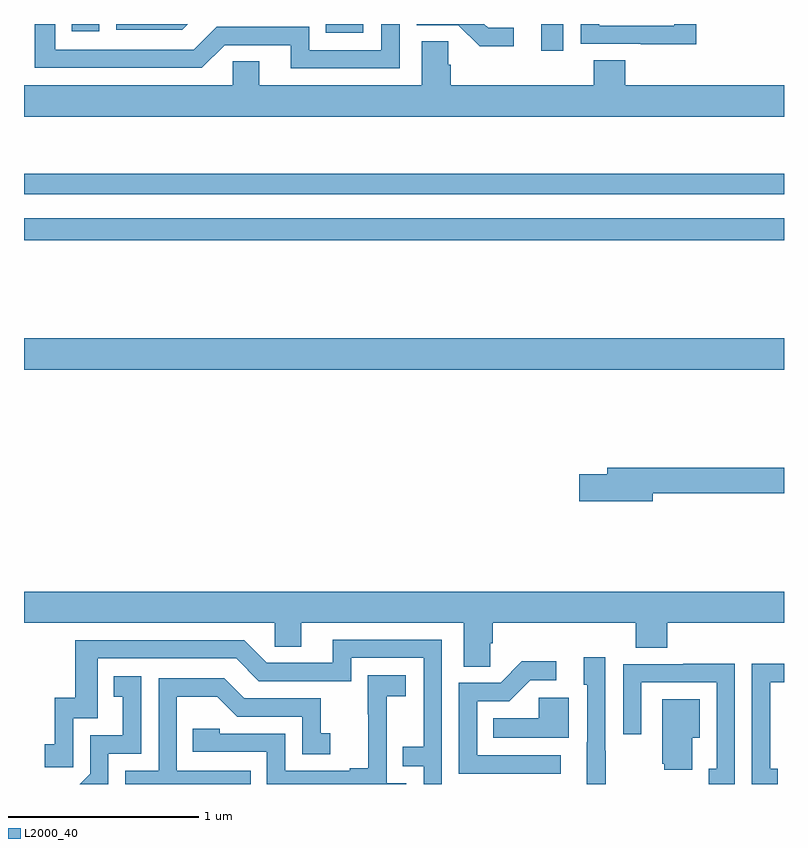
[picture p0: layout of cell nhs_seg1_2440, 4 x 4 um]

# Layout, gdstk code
import gdstk
lib = gdstk.Library(unit=1e-6, precision=1e-09)
def R(c, l, rs):  # rectangles x0, y0, x1, y1
    for r in rs: c.add(gdstk.rectangle(r[:2], r[2:], *l))
def P(c, l, *ps):  # polygons
    for p in ps: c.add(gdstk.Polygon(p, *l))
L2000_40 = (2000, 40)

nhs_seg1_2440 = lib.new_cell('nhs_seg1_2440')
R(nhs_seg1_2440, L2000_40, [(243,570.38,247,570.544), (243,571.06,247,571.176), (243,571.302,247,571.411), (245.723,572.058,245.838,572.199), (244.588,572.153,244.786,572.199), (243.25,572.16,243.396,572.199)])
P(nhs_seg1_2440, L2000_40, [(244.977,572.199),(244.881,572.199),(244.881,572.061),(244.5,572.061),(244.5,572.184),(244.014,572.184),(243.894,572.064),(243.165,572.064),(243.165,572.199),(243.057,572.199),(243.057,571.968),(243.936,571.968),(244.056,572.088),(244.403,572.088),(244.403,571.965),(244.977,571.965)],
  [(246.539,572.199),(246.423,572.199),(246.423,572.19),(246.027,572.19),(246.027,572.199),(245.931,572.199),(245.931,572.094),(246.247,572.094),(246.247,572.093),(246.539,572.093)],
  [(243.862,572.199),(243.486,572.199),(243.486,572.169),(243.832,572.169)],
  [(245.578,572.178),(245.443,572.178),(245.422,572.199),(245.067,572.199),(245.067,572.193),(245.286,572.193),(245.399,572.081),(245.578,572.081)],
  [(247,571.876),(246.164,571.876),(246.164,572.009),(245.999,572.009),(245.999,571.876),(245.246,571.876),(245.246,571.985),(245.232,571.985),(245.232,572.108),(245.093,572.108),(245.093,571.876),(244.237,571.876),(244.237,572.003),(244.098,572.003),(244.098,571.876),(243,571.876),(243,571.712),(247,571.712)],
  [(246.31,569.728),(247,569.728),(247,569.864),(246.071,569.864),(246.071,569.828),(245.922,569.828),(245.922,569.686),(246.31,569.686)],
  [(245.454,568.939),(245.468,568.939),(245.468,569.048),(246.221,569.048),(246.221,568.915),(246.386,568.915),(246.386,569.048),(247,569.048),(247,569.212),(243,569.212),(243,569.048),(244.32,569.048),(244.32,568.921),(244.459,568.921),(244.459,569.048),(245.315,569.048),(245.315,568.816),(245.454,568.816)],
  [(245.199,568.959),(244.625,568.959),(244.625,568.836),(244.278,568.836),(244.158,568.956),(243.271,568.956),(243.271,568.654),(243.161,568.654),(243.161,568.407),(243.108,568.407),(243.108,568.287),(243.258,568.287),(243.258,568.545),(243.387,568.545),(243.387,568.86),(244.116,568.86),(244.236,568.74),(244.722,568.74),(244.722,568.863),(245.103,568.863),(245.103,568.394),(244.993,568.394),(244.993,568.293),(245.103,568.293),(245.103,568.199),(245.199,568.199)],
  [(246.063,568.373),(246.06,568.373),(246.06,568.867),(245.945,568.867),(245.945,568.722),(245.964,568.722),(245.964,568.418),(245.963,568.418),(245.963,568.199),(246.063,568.199)],
  [(245.824,568.35),(245.385,568.35),(245.385,568.635),(245.554,568.635),(245.665,568.746),(245.8,568.746),(245.8,568.844),(245.621,568.844),(245.508,568.731),(245.289,568.731),(245.289,568.254),(245.824,568.254)],
  [(246.967,568.278),(246.927,568.278),(246.927,568.734),(247,568.734),(247,568.832),(246.831,568.832),(246.831,568.199),(246.967,568.199)],
  [(246.741,568.832),(246.469,568.832),(246.469,568.83),(246.153,568.83),(246.153,568.461),(246.249,568.461),(246.249,568.734),(246.645,568.734),(246.645,568.278),(246.605,568.278),(246.605,568.199),(246.741,568.199)],
  [(245.013,568.203),(244.908,568.203),(244.908,568.433),(244.91,568.433),(244.91,568.661),(245.008,568.661),(245.008,568.771),(244.81,568.771),(244.81,568.565),(244.811,568.565),(244.811,568.282),(244.715,568.282),(244.715,568.269),(244.374,568.269),(244.374,568.464),(244.029,568.464),(244.029,568.491),(243.889,568.491),(243.889,568.368),(244.278,568.368),(244.278,568.199),(245.013,568.199)],
  [(243.444,568.359),(243.618,568.359),(243.618,568.765),(243.472,568.765),(243.472,568.659),(243.521,568.659),(243.521,568.455),(243.348,568.455),(243.348,568.254),(243.293,568.199),(243.444,568.199)],
  [(244.193,568.269),(243.804,568.269),(243.804,568.658),(244.018,568.658),(244.122,568.554),(244.464,568.554),(244.464,568.356),(244.612,568.356),(244.612,568.465),(244.563,568.465),(244.563,568.65),(244.159,568.65),(244.054,568.755),(243.708,568.755),(243.708,568.269),(243.534,568.269),(243.534,568.199),(244.193,568.199)],
  [(245.866,568.654),(245.709,568.654),(245.709,568.546),(245.47,568.546),(245.47,568.442),(245.866,568.442)],
  [(246.517,568.442),(246.556,568.442),(246.556,568.645),(246.359,568.645),(246.359,568.305),(246.371,568.305),(246.371,568.274),(246.517,568.274)])

lib.write_gds('nhs_seg1_2440.gds')
